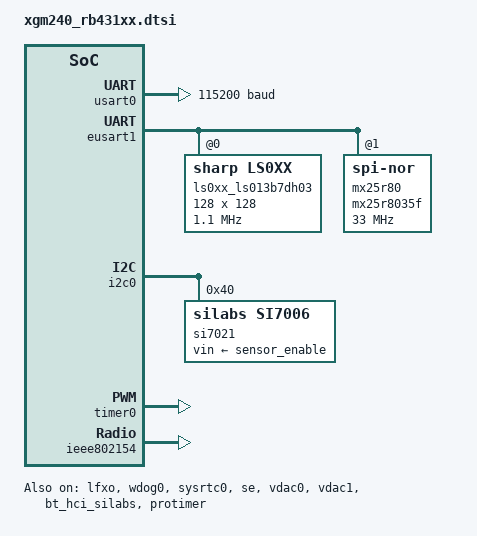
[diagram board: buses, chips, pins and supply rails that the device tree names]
/*
 * Copyright (c) 2025 Silicon Laboratories Inc.
 *
 * SPDX-License-Identifier: Apache-2.0
 */

#include <silabs/xg24/clock-hfrcodpll.dtsi>
#include <silabs/xg24/clock-lfxo.dtsi>
#include <zephyr/dt-bindings/input/input-event-codes.h>
#include <zephyr/dt-bindings/pwm/pwm.h>
#include <zephyr/dt-bindings/regulator/silabs_dcdc.h>
#include <zephyr/dt-bindings/pinctrl/silabs/xg24-pinctrl.h>

/ {
	chosen {
		zephyr,bt-hci = &bt_hci_silabs;
		zephyr,code-partition = &slot0_partition;
		zephyr,console = &usart0;
		zephyr,display = &ls0xx_ls013b7dh03;
		zephyr,flash = &flash0;
		zephyr,ieee802154 = &ieee802154;
		zephyr,openthread-counter = &protimer;
		zephyr,shell-uart = &usart0;
		zephyr,sram = &sram0;
		zephyr,uart-pipe = &usart0;
	};

	/* These aliases are provided for compatibility with samples */
	aliases {
		dht0 = &si7021;
		led0 = &led0;
		led1 = &led1;
		pwm-led0 = &pwm_led0;
		pwm-led1 = &pwm_led1;
		spi-flash0 = &mx25r80;
		sw0 = &button0;
		sw1 = &button1;
		watchdog0 = &wdog0;
	};
};

&pinctrl {
	itm_default: itm_default {
		group0 {
			pins = <GPIO_SWV_PA3>;
			drive-push-pull;
			output-high;
		};
	};
};

&itm {
	pinctrl-0 = <&itm_default>;
	pinctrl-names = "default";
};

&lfxo {
	ctune = <44>;
	precision = <50>;
	status = "okay";
};

&usart0 {
	current-speed = <115200>;
	pinctrl-0 = <&usart0_default>;
	pinctrl-names = "default";
	status = "okay";
};

&eusart1 {
	compatible = "silabs,eusart-spi";
	#address-cells = <1>;
	#size-cells = <0>;
	clock-frequency = <DT_FREQ_M(10)>;
	pinctrl-0 = <&eusart1_default>;
	pinctrl-names = "default";
	status = "okay";

	ls0xx_ls013b7dh03: ls0xx@0 {
		compatible = "sharp,ls0xx";
		reg = <0>;
		height = <128>;
		spi-max-frequency = <DT_FREQ_K(1100)>;
		width = <128>;
		extcomin-frequency = <60>;
	};

	mx25r80: mx25r8035f@1 {
		compatible = "jedec,spi-nor";
		reg = <1>;
		dpd-wakeup-sequence = <30000 20 35000>;
		has-dpd;
		jedec-id = [c2 28 14];
		mxicy,mx25r-power-mode = "low-power";
		size = <DT_SIZE_M(8)>;
		spi-max-frequency = <DT_FREQ_M(33)>;
		zephyr,pm-device-runtime-auto;
	};
};

&i2c0 {
	pinctrl-0 = <&i2c0_default>;
	pinctrl-names = "default";
	status = "okay";

	si7021: si7021@40 {
		compatible = "silabs,si7006";
		reg = <0x40>;
		vin-supply = <&sensor_enable>;
	};
};

&timer0 {
	status = "okay";

	timer0_pwm: pwm {
		pinctrl-0 = <&timer0_default>;
		pinctrl-names = "default";
		status = "okay";
	};
};

&gpio {
	status = "okay";
};

&gpioa {
	status = "okay";
};

&gpiob {
	status = "okay";
};

&gpioc {
	status = "okay";
};

&gpiod {
	status = "okay";
};

&wdog0 {
	status = "okay";
};

&sysrtc0 {
	status = "okay";
};

&se {
	status = "okay";
};

&dcdc {
	regulator-boot-on;
	regulator-initial-mode = <SILABS_DCDC_MODE_BUCK>;
	status = "okay";
};

&flash0 {
	partitions {
		ranges;
		#address-cells = <1>;
		#size-cells = <1>;

		/* Reserve 48 kB for the bootloader */
		boot_partition: partition@0 {
			compatible = "zephyr,mapped-partition";
			reg = <0x0 DT_SIZE_K(48)>;
			label = "mcuboot";
			read-only;
		};

		/* Reserve 728 kB for the application in slot 0 */
		slot0_partition: partition@c000 {
			compatible = "zephyr,mapped-partition";
			reg = <0x0000c000 DT_SIZE_K(728)>;
			label = "image-0";
		};

		/* Reserve 728 kB for the application in slot 1 */
		slot1_partition: partition@c2000 {
			compatible = "zephyr,mapped-partition";
			reg = <0x000c2000 DT_SIZE_K(728)>;
			label = "image-1";
		};

		/* Set 32 kB of storage at the end of the 1536 kB of flash */
		storage_partition: partition@178000 {
			compatible = "zephyr,mapped-partition";
			reg = <0x00178000 DT_SIZE_K(32)>;
			label = "storage";
		};
	};
};

&vdac0 {
	status = "okay";
};

&vdac1 {
	status = "okay";
};

&bt_hci_silabs {
	status = "okay";
};

&ieee802154 {
	status = "okay";
	hfxo = <&hfxo>;
	sleep-clock = <&lfxo>;
};

&protimer {
	status = "okay";
};
